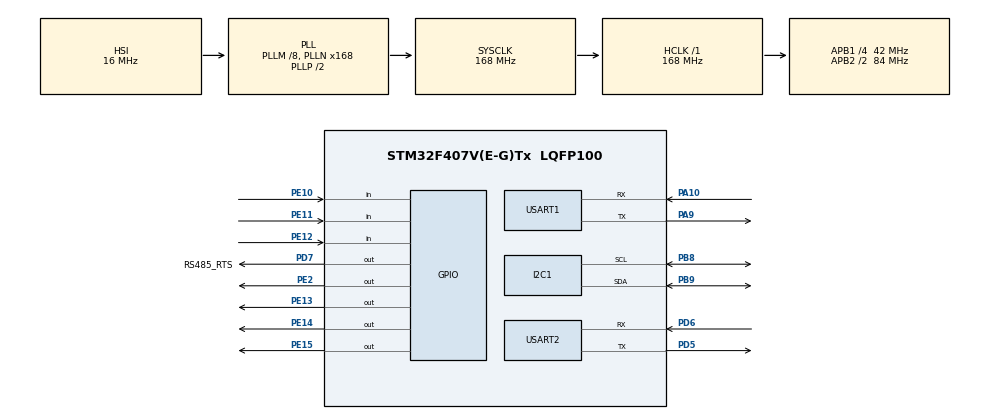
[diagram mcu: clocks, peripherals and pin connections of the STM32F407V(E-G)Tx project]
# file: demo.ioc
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Dma.Request0=USART2_RX
Dma.Request1=USART2_TX
Dma.Request2=USART1_RX
Dma.Request3=USART1_TX
Dma.USART1_RX.2.Direction=DMA_PERIPH_TO_MEMORY
Dma.USART1_RX.2.FIFOMode=DMA_FIFOMODE_DISABLE
Dma.USART1_RX.2.Instance=DMA2_Stream2
Dma.USART1_RX.2.MemDataAlignment=DMA_MDATAALIGN_BYTE
Dma.USART1_RX.2.MemInc=DMA_MINC_ENABLE
Dma.USART1_RX.2.Mode=DMA_CIRCULAR
Dma.USART1_RX.2.PeriphDataAlignment=DMA_PDATAALIGN_BYTE
Dma.USART1_RX.2.PeriphInc=DMA_PINC_DISABLE
Dma.USART1_RX.2.Priority=DMA_PRIORITY_LOW
Dma.USART1_TX.3.Direction=DMA_MEMORY_TO_PERIPH
Dma.USART1_TX.3.FIFOMode=DMA_FIFOMODE_DISABLE
Dma.USART1_TX.3.Instance=DMA2_Stream7
Dma.USART1_TX.3.MemDataAlignment=DMA_MDATAALIGN_BYTE
Dma.USART1_TX.3.MemInc=DMA_MINC_ENABLE
Dma.USART1_TX.3.Mode=DMA_NORMAL
Dma.USART1_TX.3.PeriphDataAlignment=DMA_PDATAALIGN_BYTE
Dma.USART1_TX.3.PeriphInc=DMA_PINC_DISABLE
Dma.USART1_TX.3.Priority=DMA_PRIORITY_LOW
Dma.USART2_RX.0.Direction=DMA_PERIPH_TO_MEMORY
Dma.USART2_RX.0.FIFOMode=DMA_FIFOMODE_DISABLE
Dma.USART2_RX.0.Instance=DMA1_Stream5
Dma.USART2_RX.0.MemDataAlignment=DMA_MDATAALIGN_BYTE
Dma.USART2_RX.0.MemInc=DMA_MINC_ENABLE
Dma.USART2_RX.0.Mode=DMA_CIRCULAR
Dma.USART2_RX.0.PeriphDataAlignment=DMA_PDATAALIGN_BYTE
Dma.USART2_RX.0.PeriphInc=DMA_PINC_DISABLE
Dma.USART2_RX.0.Priority=DMA_PRIORITY_LOW
Dma.USART2_TX.1.Direction=DMA_MEMORY_TO_PERIPH
Dma.USART2_TX.1.FIFOMode=DMA_FIFOMODE_DISABLE
Dma.USART2_TX.1.Instance=DMA1_Stream6
Dma.USART2_TX.1.MemDataAlignment=DMA_MDATAALIGN_BYTE
Dma.USART2_TX.1.MemInc=DMA_MINC_ENABLE
Dma.USART2_TX.1.Mode=DMA_NORMAL
Dma.USART2_TX.1.PeriphDataAlignment=DMA_PDATAALIGN_BYTE
Dma.USART2_TX.1.PeriphInc=DMA_PINC_DISABLE
Dma.USART2_TX.1.Priority=DMA_PRIORITY_LOW
Mcu.Family=STM32F4
Mcu.Name=STM32F407V(E-G)Tx
Mcu.Package=LQFP100
NVIC.DMA1_Stream5_IRQn=true\:0\:0\:false\:false\:true\:false\:true\:true
NVIC.DMA1_Stream6_IRQn=true\:0\:0\:false\:false\:true\:false\:true\:true
NVIC.DMA2_Stream2_IRQn=true\:0\:0\:false\:false\:true\:false\:true\:true
NVIC.DMA2_Stream7_IRQn=true\:0\:0\:false\:false\:true\:false\:true\:true
NVIC.PriorityGroup=NVIC_PRIORITYGROUP_4
NVIC.TIM1_TRG_COM_TIM11_IRQn=true\:0\:0\:false\:false\:true\:true\:true\:true
NVIC.USART1_IRQn=true\:0\:0\:false\:false\:true\:true\:true\:true
NVIC.USART2_IRQn=true\:0\:0\:false\:false\:true\:true\:true\:true
PA10.Mode=Asynchronous
PA10.Signal=USART1_RX
PA13.Mode=Serial_Wire
PA13.Signal=SYS_JTMS-SWDIO
PA14.Mode=Serial_Wire
PA14.Signal=SYS_JTCK-SWCLK
PA9.Mode=Asynchronous
PA9.Signal=USART1_TX
PB8.GPIO_Pu=GPIO_PULLUP
PB8.Mode=I2C
PB8.Signal=I2C1_SCL
PB9.GPIO_Pu=GPIO_PULLUP
PB9.Mode=I2C
PB9.Signal=I2C1_SDA
PD5.Mode=Asynchronous
PD5.Signal=USART2_TX
PD6.Mode=Asynchronous
PD6.Signal=USART2_RX
PD7.GPIO_Label=RS485_RTS
PD7.GPIO_Speed=GPIO_SPEED_FREQ_HIGH
PD7.PinState=GPIO_PIN_SET
PD7.Signal=GPIO_Output
PE10.Signal=GPIO_Input
PE11.Signal=GPIO_Input
PE12.Signal=GPIO_Input
PE13.Signal=GPIO_Output
PE14.Signal=GPIO_Output
PE15.Signal=GPIO_Output
PE2.Signal=GPIO_Output
PH0-OSC_IN.Mode=HSE-External-Oscillator
PH0-OSC_IN.Signal=RCC_OSC_IN
PH1-OSC_OUT.Mode=HSE-External-Oscillator
PH1-OSC_OUT.Signal=RCC_OSC_OUT
ProjectManager.HeapSize=0x2000
ProjectManager.StackSize=0x2000
ProjectManager.TargetToolchain=MDK-ARM V5
RCC.48MHZClocksFreq_Value=84000000
RCC.AHBFreq_Value=168000000
RCC.APB1CLKDivider=RCC_HCLK_DIV4
RCC.APB1Freq_Value=42000000
RCC.APB1TimFreq_Value=84000000
RCC.APB2CLKDivider=RCC_HCLK_DIV2
RCC.APB2Freq_Value=84000000
RCC.APB2TimFreq_Value=168000000
RCC.CortexFreq_Value=168000000
RCC.HCLKFreq_Value=168000000
RCC.HSE_VALUE=25000000
RCC.HSI_VALUE=16000000
RCC.LSE_VALUE=32768
RCC.PLLM=8
RCC.PLLN=168
RCC.SYSCLKFreq_VALUE=168000000
RCC.SYSCLKSource=RCC_SYSCLKSOURCE_PLLCLK
RCC.VCOOutputFreq_Value=336000000
TIM11.AutoReloadPreload=TIM_AUTORELOAD_PRELOAD_ENABLE
TIM11.Period=1000-1
TIM11.Prescaler=168-1
USART1.VirtualMode=VM_ASYNC
USART2.VirtualMode=VM_ASYNC
VP_TIM11_VS_ClockSourceINT.Mode=Enable_Timer
board=custom

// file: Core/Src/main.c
/* USER CODE BEGIN Header */
/**
 ******************************************************************************
 * @file           : main.c
 * @brief          : Main program body
 ******************************************************************************
 * @attention
 *
 * Copyright (c) 2023 STMicroelectronics.
 * All rights reserved.
 *
 * This software is licensed under terms that can be found in the LICENSE file
 * in the root directory of this software component.
 * If no LICENSE file comes with this software, it is provided AS-IS.
 *
 ******************************************************************************
 */
/* USER CODE END Header */
#include "main.h"

/* USER CODE BEGIN Includes */
#include "sfud.h"
#include "typebasic.h"
/* USER CODE END Includes */

/* USER CODE BEGIN PD */
#define SFUD_DEMO_TEST_BUFFER_SIZE 1024
/* USER CODE END PD */

I2C_HandleTypeDef hi2c1;

TIM_HandleTypeDef htim11;

UART_HandleTypeDef huart1;
UART_HandleTypeDef huart2;
DMA_HandleTypeDef hdma_usart1_rx;
DMA_HandleTypeDef hdma_usart1_tx;
DMA_HandleTypeDef hdma_usart2_rx;
DMA_HandleTypeDef hdma_usart2_tx;

/* USER CODE BEGIN PV */
static uint8_t sfud_demo_test_buf[SFUD_DEMO_TEST_BUFFER_SIZE];
/* USER CODE END PV */

void SystemClock_Config(void);
static void MX_GPIO_Init(void);
static void MX_DMA_Init(void);
static void MX_TIM11_Init(void);
static void MX_I2C1_Init(void);
static void MX_USART1_UART_Init(void);
static void MX_USART2_UART_Init(void);
/* USER CODE BEGIN PFP */
void HAL_TIM_PeriodElapsedCallback(TIM_HandleTypeDef* htim)
{}

/**
 * SFUD demo for the first flash device test.
 *
 * @param addr flash start address
 * @param size test flash size
 * @param size test flash data buffer
 */
void sfud_demo(uint32_t addr, size_t size, uint8_t* data)
{
    sfud_err          result = SFUD_SUCCESS;
    const sfud_flash* flash  = sfud_get_device_table() + 0;
    size_t            i;
    /* prepare write data */
    for (i = 0; i < size; i++)
    {
        data[i] = i;
    }
    /* erase test */
    result = sfud_erase(flash, addr, size);
    if (result == SFUD_SUCCESS)
    {
        PRINTLN("Erase the %s flash data finish. Start from 0x%08X, size is %ld.", flash->name, addr, size);
    }
    else
    {
        PRINTLN("Erase the %s flash data failed.", flash->name);
        return;
    }
    /* write test */
    result = sfud_write(flash, addr, size, data);
    if (result == SFUD_SUCCESS)
    {
        PRINTLN("Write the %s flash data finish. Start from 0x%08X, size is %ld.", flash->name, addr,
                size);
    }
    else
    {
        PRINTLN("Write the %s flash data failed.", flash->name);
        return;
    }
    /* read test */
    result = sfud_read(flash, addr, size, data);
    if (result == SFUD_SUCCESS)
    {
        PRINTLN("Read the %s flash data success. Start from 0x%08X, size is %ld. The data is:", flash->name, addr, size);
        PRINTLN("Offset (h) 00 01 02 03 04 05 06 07 08 09 0A 0B 0C 0D 0E 0F");
        for (i = 0; i < size; i++)
        {
            if (i % 16 == 0)
            {
                printf("[%08X] ", addr + i);
            }
            printf("%02X ", data[i]);
            if (((i + 1) % 16 == 0) || i == size - 1)
            {
                PRINTLN();
            }
        }
        PRINTLN();
    }
    else
    {
        PRINTLN("Read the %s flash data failed.", flash->name);
    }
    /* data check */
    for (i = 0; i < size; i++)
    {
        if (data[i] != i % 256)
        {
            PRINTLN("Read and check write data has an error. Write the %s flash data failed.", flash->name);
            break;
        }
    }
    if (i == size)
    {
        PRINTLN("The %s flash test is success.", flash->name);
    }
}

/* USER CODE END PFP */

int main(void)
{

  /* MCU Configuration--------------------------------------------------------*/

  /* Reset of all peripherals, Initializes the Flash interface and the Systick. */
  HAL_Init();

  /* Configure the system clock */
  SystemClock_Config();

  /* USER CODE BEGIN SysInit */
    __HAL_RCC_GPIOA_CLK_ENABLE();
    __HAL_RCC_GPIOB_CLK_ENABLE();
    __HAL_RCC_GPIOC_CLK_ENABLE();
    __HAL_RCC_GPIOD_CLK_ENABLE();
    __HAL_RCC_GPIOE_CLK_ENABLE();
  /* USER CODE END SysInit */

  /* Initialize all configured peripherals */
  MX_GPIO_Init();
  MX_DMA_Init();
  MX_TIM11_Init();
  MX_I2C1_Init();
  MX_USART1_UART_Init();
  MX_USART2_UART_Init();
  /* USER CODE BEGIN 2 */

    /* SFUD initialize */
    if (sfud_init() == SFUD_SUCCESS)
    {
        sfud_demo(0, sizeof(sfud_demo_test_buf), sfud_demo_test_buf);
    }

  /* USER CODE END 2 */

  /* Infinite loop */
    while (1)
    {

    }
}

void SystemClock_Config(void)
{
  RCC_OscInitTypeDef RCC_OscInitStruct = {0};
  RCC_ClkInitTypeDef RCC_ClkInitStruct = {0};

  /** Configure the main internal regulator output voltage
  */
  __HAL_RCC_PWR_CLK_ENABLE();
  __HAL_PWR_VOLTAGESCALING_CONFIG(PWR_REGULATOR_VOLTAGE_SCALE1);

  /** Initializes the RCC Oscillators according to the specified parameters
  * in the RCC_OscInitTypeDef structure.
  */
  RCC_OscInitStruct.OscillatorType = RCC_OSCILLATORTYPE_HSI;
  RCC_OscInitStruct.HSIState = RCC_HSI_ON;
  RCC_OscInitStruct.HSICalibrationValue = RCC_HSICALIBRATION_DEFAULT;
  RCC_OscInitStruct.PLL.PLLState = RCC_PLL_ON;
  RCC_OscInitStruct.PLL.PLLSource = RCC_PLLSOURCE_HSI;
  RCC_OscInitStruct.PLL.PLLM = 8;
  RCC_OscInitStruct.PLL.PLLN = 168;
  RCC_OscInitStruct.PLL.PLLP = RCC_PLLP_DIV2;
  RCC_OscInitStruct.PLL.PLLQ = 4;
  if (HAL_RCC_OscConfig(&RCC_OscInitStruct) != HAL_OK)
  {
    Error_Handler();
  }

  /** Initializes the CPU, AHB and APB buses clocks
  */
  RCC_ClkInitStruct.ClockType = RCC_CLOCKTYPE_HCLK|RCC_CLOCKTYPE_SYSCLK
                              |RCC_CLOCKTYPE_PCLK1|RCC_CLOCKTYPE_PCLK2;
  RCC_ClkInitStruct.SYSCLKSource = RCC_SYSCLKSOURCE_PLLCLK;
  RCC_ClkInitStruct.AHBCLKDivider = RCC_SYSCLK_DIV1;
  RCC_ClkInitStruct.APB1CLKDivider = RCC_HCLK_DIV4;
  RCC_ClkInitStruct.APB2CLKDivider = RCC_HCLK_DIV2;

  if (HAL_RCC_ClockConfig(&RCC_ClkInitStruct, FLASH_LATENCY_5) != HAL_OK)
  {
    Error_Handler();
  }
}

static void MX_I2C1_Init(void)
{

  hi2c1.Instance = I2C1;
  hi2c1.Init.ClockSpeed = 100000;
  hi2c1.Init.DutyCycle = I2C_DUTYCYCLE_2;
  hi2c1.Init.OwnAddress1 = 0;
  hi2c1.Init.AddressingMode = I2C_ADDRESSINGMODE_7BIT;
  hi2c1.Init.DualAddressMode = I2C_DUALADDRESS_DISABLE;
  hi2c1.Init.OwnAddress2 = 0;
  hi2c1.Init.GeneralCallMode = I2C_GENERALCALL_DISABLE;
  hi2c1.Init.NoStretchMode = I2C_NOSTRETCH_DISABLE;
  if (HAL_I2C_Init(&hi2c1) != HAL_OK)
  {
    Error_Handler();
  }

}

static void MX_TIM11_Init(void)
{

  htim11.Instance = TIM11;
  htim11.Init.Prescaler = 168-1;
  htim11.Init.CounterMode = TIM_COUNTERMODE_UP;
  htim11.Init.Period = 1000-1;
  htim11.Init.ClockDivision = TIM_CLOCKDIVISION_DIV1;
  htim11.Init.AutoReloadPreload = TIM_AUTORELOAD_PRELOAD_ENABLE;
  if (HAL_TIM_Base_Init(&htim11) != HAL_OK)
  {
    Error_Handler();
  }

}

static void MX_USART1_UART_Init(void)
{

  huart1.Instance = USART1;
  huart1.Init.BaudRate = 115200;
  huart1.Init.WordLength = UART_WORDLENGTH_8B;
  huart1.Init.StopBits = UART_STOPBITS_1;
  huart1.Init.Parity = UART_PARITY_NONE;
  huart1.Init.Mode = UART_MODE_TX_RX;
  huart1.Init.HwFlowCtl = UART_HWCONTROL_NONE;
  huart1.Init.OverSampling = UART_OVERSAMPLING_16;
  if (HAL_UART_Init(&huart1) != HAL_OK)
  {
    Error_Handler();
  }

}

static void MX_USART2_UART_Init(void)
{

  huart2.Instance = USART2;
  huart2.Init.BaudRate = 115200;
  huart2.Init.WordLength = UART_WORDLENGTH_8B;
  huart2.Init.StopBits = UART_STOPBITS_1;
  huart2.Init.Parity = UART_PARITY_NONE;
  huart2.Init.Mode = UART_MODE_TX_RX;
  huart2.Init.HwFlowCtl = UART_HWCONTROL_NONE;
  huart2.Init.OverSampling = UART_OVERSAMPLING_16;
  if (HAL_UART_Init(&huart2) != HAL_OK)
  {
    Error_Handler();
  }

}

static void MX_DMA_Init(void)
{

  /* DMA controller clock enable */
  __HAL_RCC_DMA1_CLK_ENABLE();
  __HAL_RCC_DMA2_CLK_ENABLE();

  /* DMA interrupt init */
  /* DMA1_Stream5_IRQn interrupt configuration */
  HAL_NVIC_SetPriority(DMA1_Stream5_IRQn, 0, 0);
  HAL_NVIC_EnableIRQ(DMA1_Stream5_IRQn);
  /* DMA1_Stream6_IRQn interrupt configuration */
  HAL_NVIC_SetPriority(DMA1_Stream6_IRQn, 0, 0);
  HAL_NVIC_EnableIRQ(DMA1_Stream6_IRQn);
  /* DMA2_Stream2_IRQn interrupt configuration */
  HAL_NVIC_SetPriority(DMA2_Stream2_IRQn, 0, 0);
  HAL_NVIC_EnableIRQ(DMA2_Stream2_IRQn);
  /* DMA2_Stream7_IRQn interrupt configuration */
  HAL_NVIC_SetPriority(DMA2_Stream7_IRQn, 0, 0);
  HAL_NVIC_EnableIRQ(DMA2_Stream7_IRQn);

}

static void MX_GPIO_Init(void)
{
  GPIO_InitTypeDef GPIO_InitStruct = {0};

  /* GPIO Ports Clock Enable */
  __HAL_RCC_GPIOE_CLK_ENABLE();
  __HAL_RCC_GPIOH_CLK_ENABLE();
  __HAL_RCC_GPIOA_CLK_ENABLE();
  __HAL_RCC_GPIOD_CLK_ENABLE();
  __HAL_RCC_GPIOB_CLK_ENABLE();

  /*Configure GPIO pin Output Level */
  HAL_GPIO_WritePin(GPIOE, GPIO_PIN_2|GPIO_PIN_13|GPIO_PIN_14|GPIO_PIN_15, GPIO_PIN_RESET);

  /*Configure GPIO pin Output Level */
  HAL_GPIO_WritePin(RS485_RTS_GPIO_Port, RS485_RTS_Pin, GPIO_PIN_SET);

  /*Configure GPIO pins : PE2 PE13 PE14 PE15 */
  GPIO_InitStruct.Pin = GPIO_PIN_2|GPIO_PIN_13|GPIO_PIN_14|GPIO_PIN_15;
  GPIO_InitStruct.Mode = GPIO_MODE_OUTPUT_PP;
  GPIO_InitStruct.Pull = GPIO_NOPULL;
  GPIO_InitStruct.Speed = GPIO_SPEED_FREQ_LOW;
  HAL_GPIO_Init(GPIOE, &GPIO_InitStruct);

  /*Configure GPIO pins : PE10 PE11 PE12 */
  GPIO_InitStruct.Pin = GPIO_PIN_10|GPIO_PIN_11|GPIO_PIN_12;
  GPIO_InitStruct.Mode = GPIO_MODE_INPUT;
  GPIO_InitStruct.Pull = GPIO_NOPULL;
  HAL_GPIO_Init(GPIOE, &GPIO_InitStruct);

  /*Configure GPIO pin : RS485_RTS_Pin */
  GPIO_InitStruct.Pin = RS485_RTS_Pin;
  GPIO_InitStruct.Mode = GPIO_MODE_OUTPUT_PP;
  GPIO_InitStruct.Pull = GPIO_NOPULL;
  GPIO_InitStruct.Speed = GPIO_SPEED_FREQ_HIGH;
  HAL_GPIO_Init(RS485_RTS_GPIO_Port, &GPIO_InitStruct);

}

void Error_Handler(void)
{
    __disable_irq();
    while (1)
    {
    }
}

#ifdef  USE_FULL_ASSERT
/**
  * @brief  Reports the name of the source file and the source line number
  *         where the assert_param error has occurred.
  * @param  file: pointer to the source file name
  * @param  line: assert_param error line source number
  * @retval None
  */
void assert_failed(uint8_t *file, uint32_t line)
{
  /* USER CODE BEGIN 6 */
    /* User can add his own implementation to report the file name and line number,
       ex: PRINTF("Wrong parameters value: file %s on line %d\r\n", file, line) */
  /* USER CODE END 6 */
}
#endif /* USE_FULL_ASSERT */
